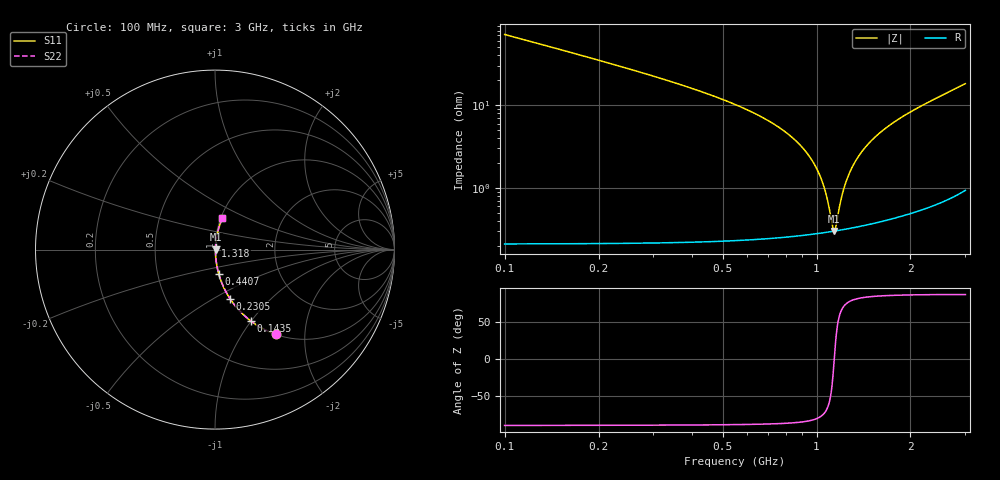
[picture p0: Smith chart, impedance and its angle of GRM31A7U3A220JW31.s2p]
!Murata Part Number: GRM31A7U3A220JW31
!These Parameters are Measured in Series Mode Connection
!Data Generated on Mar 30, 2021
!  o--ll--o
!Port1  Port2
!  o------o
!Operation Temp=25[degC], DC Bias Voltage=0[V]
!Freq. Start=100[MHz] Stop=3[GHz] 401[Steps]
# Hz S RI R 50
!Freq.(Hz) S11(Real) S11(Imag) S21(Real) S21(Imag) S12(Real) S12(Imag) S22(Real) S22(Imag)
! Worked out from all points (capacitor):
!   401 points, 100 MHz to 3 GHz, reference 50 ohm
!   read as one part in series: C = 22 pF near 114.5 MHz
!   lowest |Z| = 301 mohm at 1.137 GHz (marker M1)
!   series resonance near 1.14 GHz, so ESL is about 890 pH
!   S11 on the Smith chart (normalised r, x): 100 MHz: 1.00, -1.44; 143.5 MHz: 1.00, -0.99; 230.5 MHz: 1.00, -0.60; 440.8 MHz: 1.00, -0.28; 1.318 GHz: 1.01, +0.04; 3 GHz: 1.02, +0.36
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1e8  0.3406 -0.4725  0.6594 0.4725  0.6594 0.4725  0.3406 -0.4725
1.435e8  0.1987 -0.3969  0.8013 0.3969  0.8013 0.3969  0.1987 -0.3969
2.305e8  0.0849 -0.2752  0.9151 0.2752  0.9151 0.2752  0.0849 -0.2752
4.4075e8  0.0214 -0.1369  0.9786 0.1369  0.9786 0.1369  0.0214 -0.1369
5.8575e8  0.0106 -0.0904  0.9894 0.0904  0.9894 0.0904  0.0106 -0.0904
7.815e8  0.00496 -0.0493  0.995 0.0493  0.995 0.0493  0.00496 -0.0493
9.12e8  0.0035 -0.0289  0.9965 0.0289  0.9965 0.0289  0.0035 -0.0289
1.00625e9  0.00305 -0.0161  0.9969 0.0161  0.9969 0.0161  0.00305 -0.0161
1.0715e9  0.00295 -0.00799  0.997 0.00799  0.997 0.00799  0.00295 -0.00799
1.12225e9  0.00297 -0.00199  0.997 0.00199  0.997 0.00199  0.00297 -0.00199
1.13675e9  0.00299 -0.000325  0.997 0.000325  0.997 0.000325  0.00299 -0.000325
1.15125e9  0.00301 0.00132  0.997 -0.00132  0.997 -0.00132  0.00301 0.00132
1.19475e9  0.00312 0.00616  0.9969 -0.00616  0.9969 -0.00616  0.00312 0.00616
1.231e9  0.00325 0.0101  0.9968 -0.0101  0.9968 -0.0101  0.00325 0.0101
1.26725e9  0.0034 0.0139  0.9966 -0.0139  0.9966 -0.0139  0.0034 0.0139
1.318e9  0.00367 0.0192  0.9963 -0.0192  0.9963 -0.0192  0.00367 0.0192
1.4195e9  0.00435 0.0292  0.9957 -0.0292  0.9957 -0.0292  0.00435 0.0292
1.55e9  0.0055 0.0416  0.9945 -0.0416  0.9945 -0.0416  0.0055 0.0416
1.76025e9  0.00793 0.0605  0.9921 -0.0605  0.9921 -0.0605  0.00793 0.0605
2.03575e9  0.0122 0.0846  0.9878 -0.0846  0.9878 -0.0846  0.0122 0.0846
2.5215e9  0.0233 0.1275  0.9767 -0.1275  0.9767 -0.1275  0.0233 0.1275
3e9  0.0406 0.1734  0.9594 -0.1734  0.9594 -0.1734  0.0406 0.1734
